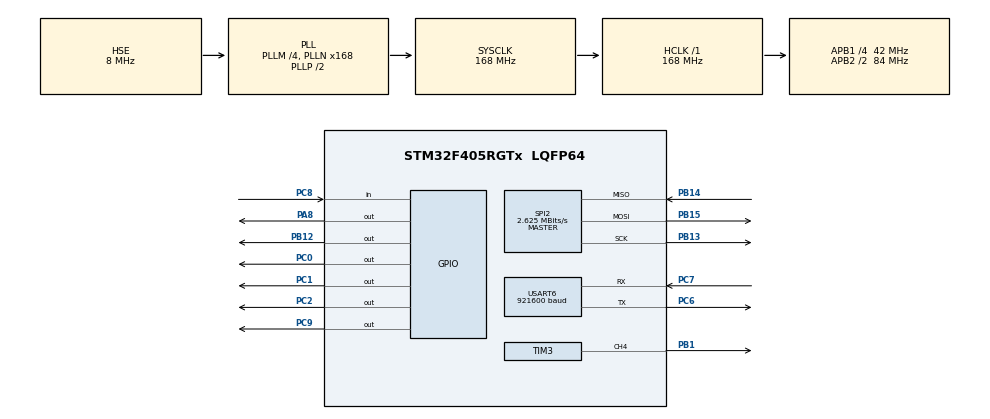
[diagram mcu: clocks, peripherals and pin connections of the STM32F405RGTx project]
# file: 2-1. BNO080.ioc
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Mcu.Family=STM32F4
Mcu.Name=STM32F405RGTx
Mcu.Package=LQFP64
NVIC.PriorityGroup=NVIC_PRIORITYGROUP_4
NVIC.USART6_IRQn=true\:0\:0\:false\:false\:true\:true\:true\:true
PA8.Signal=GPIO_Output
PB1.Signal=S_TIM3_CH4
PB12.Signal=GPIO_Output
PB13.Mode=Full_Duplex_Master
PB13.Signal=SPI2_SCK
PB14.Mode=Full_Duplex_Master
PB14.Signal=SPI2_MISO
PB15.Mode=Full_Duplex_Master
PB15.Signal=SPI2_MOSI
PC0.Signal=GPIO_Output
PC1.Signal=GPIO_Output
PC2.Signal=GPIO_Output
PC6.Mode=Asynchronous
PC6.Signal=USART6_TX
PC7.Mode=Asynchronous
PC7.Signal=USART6_RX
PC8.Signal=GPIO_Input
PC9.Signal=GPIO_Output
PH0-OSC_IN.Mode=HSE-External-Oscillator
PH0-OSC_IN.Signal=RCC_OSC_IN
PH1-OSC_OUT.Mode=HSE-External-Oscillator
PH1-OSC_OUT.Signal=RCC_OSC_OUT
ProjectManager.HeapSize=0x200
ProjectManager.StackSize=0x400
ProjectManager.TargetToolchain=STM32CubeIDE
RCC.48MHZClocksFreq_Value=84000000
RCC.AHBFreq_Value=168000000
RCC.APB1CLKDivider=RCC_HCLK_DIV4
RCC.APB1Freq_Value=42000000
RCC.APB1TimFreq_Value=84000000
RCC.APB2CLKDivider=RCC_HCLK_DIV2
RCC.APB2Freq_Value=84000000
RCC.APB2TimFreq_Value=168000000
RCC.CortexFreq_Value=168000000
RCC.HCLKFreq_Value=168000000
RCC.HSE_VALUE=8000000
RCC.HSI_VALUE=16000000
RCC.LSE_VALUE=32768
RCC.PLLM=4
RCC.PLLN=168
RCC.PLLSourceVirtual=RCC_PLLSOURCE_HSE
RCC.SYSCLKFreq_VALUE=168000000
RCC.SYSCLKSource=RCC_SYSCLKSOURCE_PLLCLK
RCC.VCOOutputFreq_Value=336000000
SH.S_TIM3_CH4.0=TIM3_CH4,PWM Generation4 CH4
SPI2.BaudRatePrescaler=SPI_BAUDRATEPRESCALER_16
SPI2.CLKPhase=SPI_PHASE_2EDGE
SPI2.CLKPolarity=SPI_POLARITY_HIGH
SPI2.CalculateBaudRate=2.625 MBits/s
SPI2.Direction=SPI_DIRECTION_2LINES
SPI2.Mode=SPI_MODE_MASTER
SPI2.VirtualType=VM_MASTER
TIM3.AutoReloadPreload=TIM_AUTORELOAD_PRELOAD_ENABLE
TIM3.Channel-PWM\ Generation4\ CH4=TIM_CHANNEL_4
TIM3.OCFastMode_PWM-PWM\ Generation4\ CH4=TIM_OCFAST_ENABLE
TIM3.Period=20
TIM3.Prescaler=999
TIM3.Pulse-PWM\ Generation4\ CH4=10
USART6.BaudRate=921600
USART6.VirtualMode=VM_ASYNC
VP_TIM3_VS_ClockSourceINT.Mode=Internal
board=custom

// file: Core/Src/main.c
/* USER CODE BEGIN Header */
/**
  ******************************************************************************
  * @file           : main.c
  * @brief          : Main program body
  ******************************************************************************
  * @attention
  *
  * Copyright (c) 2023 STMicroelectronics.
  * All rights reserved.
  *
  * This software is licensed under terms that can be found in the LICENSE file
  * in the root directory of this software component.
  * If no LICENSE file comes with this software, it is provided AS-IS.
  *
  ******************************************************************************
  */
/* USER CODE END Header */
#include "main.h"
#include "spi.h"
#include "tim.h"
#include "usart.h"
#include "gpio.h"

/* USER CODE BEGIN Includes */
#include <stdio.h>
#include "BNO080.h"
#include "Quaternion.h"
/* USER CODE END Includes */

/* USER CODE BEGIN PTD */
int _write(int file, char* p, int len){
	for(int i = 0; i < len; i++){
		LL_USART_TransmitData8(USART6, *(p + i));
		HAL_Delay(1);
	}
	return len;
}
/* USER CODE END PTD */

/* USER CODE BEGIN PV */
extern uint8_t uart6_rx_flag;
extern uint8_t uart6_rx_data;
/* USER CODE END PV */

void SystemClock_Config(void);

int main(void)
{
  /* USER CODE BEGIN 1 */
	float Q[4];
	float quatRadianAccuracy;
  /* USER CODE END 1 */

  /* MCU Configuration--------------------------------------------------------*/

  /* Reset of all peripherals, Initializes the Flash interface and the Systick. */
  HAL_Init();

  /* Configure the system clock */
  SystemClock_Config();

  /* Initialize all configured peripherals */
  MX_GPIO_Init();
  MX_TIM3_Init();
  MX_USART6_UART_Init();
  MX_SPI2_Init();
  /* USER CODE BEGIN 2 */
  LL_TIM_EnableCounter(TIM3);
  LL_TIM_CC_EnableChannel(TIM3, LL_TIM_CHANNEL_CH4);
  TIM3->PSC = 2000;
  HAL_Delay(100);
  TIM3->PSC = 1500;
  HAL_Delay(100);
  TIM3->PSC = 1000;
  HAL_Delay(100);
  LL_TIM_CC_DisableChannel(TIM3, LL_TIM_CHANNEL_CH4);

  LL_USART_EnableIT_RXNE(USART6);

  BNO080_Initialization();
  BNO080_enableRotationVector(2500);
  /* USER CODE END 2 */

  /* Infinite loop */
  /* USER CODE BEGIN WHILE */
  while (1)
  {
//	  if(uart6_rx_flag == 1){
//		  LL_USART_TransmitData8(USART6, uart6_rx_data);
//		  uart6_rx_flag = 0;
//
//		  if(uart6_rx_data == 0){
//			  LL_GPIO_TogglePin(GPIOC, LL_GPIO_PIN_0 | LL_GPIO_PIN_1 | LL_GPIO_PIN_2);
//		  }
//		  else if(uart6_rx_data == 1){
//			  LL_TIM_CC_EnableChannel(TIM3, LL_TIM_CHANNEL_CH4);
//		  }
//		  else if(uart6_rx_data == 2){
//			  LL_TIM_CC_DisableChannel(TIM3, LL_TIM_CHANNEL_CH4);
//		  }
//	  }
//	  printf("%d %f\n", count++, abc += 0.001);
//	  HAL_Delay(1000);

	  if(BNO080_dataAvailable() == 1){
		  LL_GPIO_TogglePin(GPIOC, LL_GPIO_PIN_0);
		  Q[0] = BNO080_getQuatI();
		  Q[1] = BNO080_getQuatJ();
		  Q[2] = BNO080_getQuatK();
		  Q[3] = BNO080_getQuatReal();
		  quatRadianAccuracy = BNO080_getQuatRadianAccuracy();

		  Quaternion_Update(&Q[0]);

		  //printf("%d %d %d\n", (int)(BNO080_Roll * 100), (int)(BNO080_Pitch * 100), (int)(BNO080_Yaw * 100));
	  }
    /* USER CODE END WHILE */

  }
}

void SystemClock_Config(void)
{
  RCC_OscInitTypeDef RCC_OscInitStruct = {0};
  RCC_ClkInitTypeDef RCC_ClkInitStruct = {0};

  /** Configure the main internal regulator output voltage
  */
  __HAL_RCC_PWR_CLK_ENABLE();
  __HAL_PWR_VOLTAGESCALING_CONFIG(PWR_REGULATOR_VOLTAGE_SCALE1);

  /** Initializes the RCC Oscillators according to the specified parameters
  * in the RCC_OscInitTypeDef structure.
  */
  RCC_OscInitStruct.OscillatorType = RCC_OSCILLATORTYPE_HSE;
  RCC_OscInitStruct.HSEState = RCC_HSE_ON;
  RCC_OscInitStruct.PLL.PLLState = RCC_PLL_ON;
  RCC_OscInitStruct.PLL.PLLSource = RCC_PLLSOURCE_HSE;
  RCC_OscInitStruct.PLL.PLLM = 4;
  RCC_OscInitStruct.PLL.PLLN = 168;
  RCC_OscInitStruct.PLL.PLLP = RCC_PLLP_DIV2;
  RCC_OscInitStruct.PLL.PLLQ = 4;
  if (HAL_RCC_OscConfig(&RCC_OscInitStruct) != HAL_OK)
  {
    Error_Handler();
  }

  /** Initializes the CPU, AHB and APB buses clocks
  */
  RCC_ClkInitStruct.ClockType = RCC_CLOCKTYPE_HCLK|RCC_CLOCKTYPE_SYSCLK
                              |RCC_CLOCKTYPE_PCLK1|RCC_CLOCKTYPE_PCLK2;
  RCC_ClkInitStruct.SYSCLKSource = RCC_SYSCLKSOURCE_PLLCLK;
  RCC_ClkInitStruct.AHBCLKDivider = RCC_SYSCLK_DIV1;
  RCC_ClkInitStruct.APB1CLKDivider = RCC_HCLK_DIV4;
  RCC_ClkInitStruct.APB2CLKDivider = RCC_HCLK_DIV2;

  if (HAL_RCC_ClockConfig(&RCC_ClkInitStruct, FLASH_LATENCY_5) != HAL_OK)
  {
    Error_Handler();
  }
}

void Error_Handler(void)
{
  __disable_irq();
  while (1)
  {
  }
}
